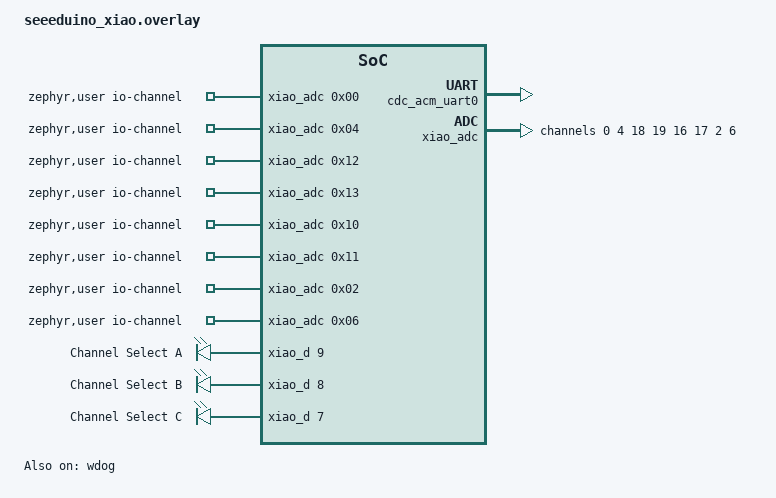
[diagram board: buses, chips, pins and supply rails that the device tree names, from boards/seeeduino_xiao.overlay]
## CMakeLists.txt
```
#-------------------------------------------------------------------------------
# Zephyr Example Application
#
# Copyright (c) 2021 Nordic Semiconductor ASA
# SPDX-License-Identifier: Apache-2.0

cmake_minimum_required(VERSION 3.13.1)
find_package(Zephyr REQUIRED HINTS $ENV{ZEPHYR_BASE})

project(app LANGUAGES C)

# Get version from Git
find_package(Git QUIET)
if(Git_FOUND)
    execute_process(
        COMMAND ${GIT_EXECUTABLE} describe --tags --always --dirty
        WORKING_DIRECTORY ${CMAKE_SOURCE_DIR}
        OUTPUT_VARIABLE APP_VERSION
        OUTPUT_STRIP_TRAILING_WHITESPACE
        ERROR_QUIET)
endif()

if(NOT APP_VERSION)
    set(APP_VERSION "unknown")
endif()

zephyr_compile_options(-Wall -Werror)

zephyr_compile_definitions("APP_VERSION_STRING=\"${APP_VERSION}\"")
target_sources(app PRIVATE src/main.c src/chessboard.c src/chessboard_cmd.c src/chessboard_calibration.c src/watchdog.c src/version_cmd.c)
```

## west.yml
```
# Copyright (c) 2021 Nordic Semiconductor ASA
# SPDX-License-Identifier: Apache-2.0

manifest:
  remotes:
    - name: zephyrproject-rtos
      url-base: https://github.com/zephyrproject-rtos


  projects:
    - name: zephyr
      remote: zephyrproject-rtos
      revision: 91b1b84eee8159ce9706e8e0a3826cea04a09170
      import:
        name-allowlist:
          - hal_atmel
          - cmsis_6
```

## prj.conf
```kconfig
# Enable debug options
CONFIG_SERIAL=y
CONFIG_CONSOLE=y
CONFIG_UART_CONSOLE=y
CONFIG_STDOUT_CONSOLE=y
CONFIG_UART_LINE_CTRL=y

# CDC ACM Uart
CONFIG_USB_DEVICE_STACK_NEXT=y
CONFIG_CDC_ACM_SERIAL_INITIALIZE_AT_BOOT=y
CONFIG_CDC_ACM_SERIAL_PRODUCT_STRING="Chessboard console"
CONFIG_CDC_ACM_SERIAL_PID=0x0004
CONFIG_SHELL_BACKEND_SERIAL_CHECK_DTR=n
CONFIG_UART_LINE_CTRL=y

CONFIG_ADC=y

CONFIG_SHELL=y
CONFIG_SHELL_BACKENDS=y
CONFIG_SHELL_BACKEND_SERIAL=y
CONFIG_SHELL_PROMPT_UART="chess:~$ "
CONFIG_SHELL_VT100_COLORS=n
CONFIG_SHELL_PRINTF_BUFF_SIZE=1024
CONFIG_SHELL_THREAD_PRIORITY_OVERRIDE=y
CONFIG_SHELL_THREAD_PRIORITY=14
CONFIG_MAIN_THREAD_PRIORITY=14

CONFIG_CONSOLE_SUBSYS=y
CONFIG_CONSOLE_GETCHAR=y

# For storing calibration data
CONFIG_FLASH=y
CONFIG_FLASH_MAP=y
CONFIG_SETTINGS_RUNTIME=y
CONFIG_SETTINGS=y
CONFIG_NVS=y
CONFIG_SETTINGS_NVS=y
CONFIG_SETTINGS_SHELL=y
CONFIG_MPU_ALLOW_FLASH_WRITE=y

# Watchdog
CONFIG_WATCHDOG=y
CONFIG_WDT_DISABLE_AT_BOOT=n
```

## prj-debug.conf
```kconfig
CONFIG_DEBUG=y
CONFIG_ASSERT=y

CONFIG_LOG=y
CONFIG_LOG_DEFAULT_LEVEL=2
CONFIG_USBD_CDC_ACM_LOG_LEVEL_OFF=y
CONFIG_LOG_CMDS=y
```

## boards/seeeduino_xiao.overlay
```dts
/*
* Copyright (c) 2022 Kumar Gala <galak@kernel.org>
*
* SPDX-License-Identifier: Apache-2.0
*/

/ {
	zephyr,user {
		io-channels =
		<&xiao_adc 0x00>,
		<&xiao_adc 0x04>,
		<&xiao_adc 0x12>,
		<&xiao_adc 0x13>,
		<&xiao_adc 0x10>,
		<&xiao_adc 0x11>,
		<&xiao_adc 0x02>,
		<&xiao_adc 0x06>;
	};
	chosen {
		zephyr,console = &cdc_acm_uart0;
		zephyr,shell-uart = &cdc_acm_uart0;
	};

	aliases {
		channel-select-a = &channel_select_a;
		channel-select-b = &channel_select_b;
		channel-select-c = &channel_select_c;
	};

	pins {
		compatible = "gpio-leds";
		channel_select_a: channel-select-a {
			gpios = <&xiao_d 9 GPIO_ACTIVE_HIGH>;
			label = "Channel Select A";
		};
		channel_select_b: channel-select-b {
			gpios = <&xiao_d 8 GPIO_ACTIVE_HIGH>;
			label = "Channel Select B";
		};
		channel_select_c: channel-select-c {
			gpios = <&xiao_d 7 GPIO_ACTIVE_HIGH>;
			label = "Channel Select C";
		};
	};
};

&xiao_dac {
	status = "disabled";
};

&zephyr_udc0 {
	cdc_acm_uart0: cdc_acm_uart0 {
		compatible = "zephyr,cdc-acm-uart";
	};
};

/*
A0 - PA2B_ADC_AIN0
A6 - PB8B_ADC_AIN2
A7 - PB9B_ADC_AIN3
A1 - PA4B_ADC_AIN4
A9 - PA5B_ADC_AIN5
A10 - PA6B_ADC_AIN6
A8 - PA7B_ADC_AIN7
A4 - PA8B_ADC_AIN16
A5 - PA9B_ADC_AIN17
A2 - PA10B_ADC_AIN18
A3 - PA11B_ADC_AIN19
*/
&pinctrl {
	xiao_adc_default: xiao-adc-default {
		group1 {
			pinmux = <PA2B_ADC_AIN0>,  /* A0 */
			<PA4B_ADC_AIN4>,  /* A1 */
			<PA10B_ADC_AIN18>, /* A2 */
			<PA11B_ADC_AIN19>,  /* A3 */
			<PA8B_ADC_AIN16>,  /* A4 */
			<PA9B_ADC_AIN17>,  /* A5 */
			<PB8B_ADC_AIN2>,  /* A6 */
			<PA6B_ADC_AIN6>;  /* A10 */
		};
	};
};

&xiao_adc {
	status = "okay";
	pinctrl-0 = <&xiao_adc_default>;
	pinctrl-names = "default";
	#address-cells = <1>;
	#size-cells = <0>;
	channel@0 {
		reg = <0>;
		zephyr,gain = "ADC_GAIN_1_2";
		zephyr,reference = "ADC_REF_VDD_1_2";
		zephyr,vref-mv = <1650>;
		zephyr,acquisition-time = <ADC_ACQ_TIME(ADC_ACQ_TIME_MICROSECONDS, 4)>;
		zephyr,input-positive = <0>;
		zephyr,resolution = <12>;
		zephyr,oversampling = <10>;
	};
	channel@4 {
		reg = <4>;
		zephyr,gain = "ADC_GAIN_1_2";
		zephyr,reference = "ADC_REF_VDD_1_2";
		zephyr,vref-mv = <1650>;
		zephyr,acquisition-time = <ADC_ACQ_TIME(ADC_ACQ_TIME_MICROSECONDS, 4)>;
		zephyr,input-positive = <4>;
		zephyr,resolution = <12>;
		zephyr,oversampling = <10>;
	};
	channel@12 {
		reg = <0x12>;
		zephyr,gain = "ADC_GAIN_1_2";
		zephyr,reference = "ADC_REF_VDD_1_2";
		zephyr,vref-mv = <1650>;
		zephyr,acquisition-time = <ADC_ACQ_TIME(ADC_ACQ_TIME_MICROSECONDS, 4)>;
		zephyr,input-positive = <0x12>;
		zephyr,resolution = <12>;
		zephyr,oversampling = <10>;
	};
	channel@13 {
		reg = <0x13>;
		zephyr,gain = "ADC_GAIN_1_2";
		zephyr,reference = "ADC_REF_VDD_1_2";
		zephyr,vref-mv = <1650>;
		zephyr,acquisition-time = <ADC_ACQ_TIME(ADC_ACQ_TIME_MICROSECONDS, 4)>;
		zephyr,input-positive = <0x13>;
		zephyr,resolution = <12>;
		zephyr,oversampling = <10>;
	};
	channel@10 {
		reg = <0x10>;
		zephyr,gain = "ADC_GAIN_1_2";
		zephyr,reference = "ADC_REF_VDD_1_2";
		zephyr,vref-mv = <1650>;
		zephyr,acquisition-time = <ADC_ACQ_TIME(ADC_ACQ_TIME_MICROSECONDS, 4)>;
		zephyr,input-positive = <0x10>;
		zephyr,resolution = <12>;
		zephyr,oversampling = <10>;
	};
	channel@11 {
		reg = <0x11>;
		zephyr,gain = "ADC_GAIN_1_2";
		zephyr,reference = "ADC_REF_VDD_1_2";
		zephyr,vref-mv = <1650>;
		zephyr,acquisition-time = <ADC_ACQ_TIME(ADC_ACQ_TIME_MICROSECONDS, 4)>;
		zephyr,input-positive = <0x11>;
		zephyr,resolution = <12>;
		zephyr,oversampling = <10>;
	};
	channel@2 {
		reg = <2>;
		zephyr,gain = "ADC_GAIN_1_2";
		zephyr,reference = "ADC_REF_VDD_1_2";
		zephyr,vref-mv = <1650>;
		zephyr,acquisition-time = <ADC_ACQ_TIME(ADC_ACQ_TIME_MICROSECONDS, 4)>;
		zephyr,input-positive = <2>;
		zephyr,resolution = <12>;
		zephyr,oversampling = <10>;
	};
	channel@6 {
		reg = <6>;
		zephyr,gain = "ADC_GAIN_1_2";
		zephyr,reference = "ADC_REF_VDD_1_2";
		zephyr,vref-mv = <1650>;
		zephyr,acquisition-time = <ADC_ACQ_TIME(ADC_ACQ_TIME_MICROSECONDS, 4)>;
		zephyr,input-positive = <6>;
		zephyr,resolution = <12>;
		zephyr,oversampling = <10>;
	};
};

&wdog {
	status = "okay";
};
```

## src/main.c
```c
#include <zephyr/kernel.h>

#include <zephyr/logging/log.h>
#include <zephyr/drivers/uart.h>
#include <zephyr/drivers/gpio.h>
#include <zephyr/device.h>
#include "watchdog.h"

LOG_MODULE_REGISTER(app, LOG_LEVEL_INF);

BUILD_ASSERT(DT_NODE_HAS_COMPAT(DT_CHOSEN(zephyr_console), zephyr_cdc_acm_uart),
	     "Console device is not ACM CDC UART device");

static const struct gpio_dt_spec led = GPIO_DT_SPEC_GET(DT_ALIAS(led0), gpios);


int main(void)
{
	const struct device *const dev = DEVICE_DT_GET(DT_CHOSEN(zephyr_console));
	uint32_t dtr = 0;

	__ASSERT(gpio_is_ready_dt(&led), "Error: GPIO Device not ready");

	gpio_pin_configure_dt(&led, GPIO_OUTPUT_ACTIVE);

	bool led_state = false;

dtr_not_set:

	/* Poll if the DTR flag was set */
	while (!dtr) {
		feed_watchdog();

		uart_line_ctrl_get(dev, UART_LINE_CTRL_DTR, &dtr);
		/* Give CPU resources to low-priority threads. */
		gpio_pin_set_dt(&led, (int)led_state);
		led_state = !led_state;
		k_msleep(100);
	}

	while (1) {
		feed_watchdog();

		gpio_pin_set_dt(&led, (int)led_state);
		led_state = !led_state;
		k_msleep(500);

		uart_line_ctrl_get(dev, UART_LINE_CTRL_DTR, &dtr);
		if (!dtr) {
			goto dtr_not_set;
		}
	}

	k_sleep(K_FOREVER);

	return 0;
}
```

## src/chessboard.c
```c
#include "chessboard.h"
#include "chessboard_calibration.h"

#include <zephyr/kernel.h>

#include <zephyr/drivers/adc.h>
#include <zephyr/device.h>
#include <zephyr/devicetree.h>
#include <zephyr/drivers/gpio.h>
#include <zephyr/logging/log.h>

LOG_MODULE_REGISTER(chessboard, LOG_LEVEL_INF);

#define HAL_NUM_MEASUREMENTS            (uint8_t)1

#define GET_INDEX(file, rank) ((rank) * 8 + (file))

#define DT_SPEC_AND_COMMA(node_id, prop, idx) ADC_DT_SPEC_GET_BY_IDX(node_id, idx),

static const struct gpio_dt_spec channel_select_a =
	GPIO_DT_SPEC_GET(DT_ALIAS(channel_select_a), gpios);
static const struct gpio_dt_spec channel_select_b =
	GPIO_DT_SPEC_GET(DT_ALIAS(channel_select_b), gpios);
static const struct gpio_dt_spec channel_select_c =
	GPIO_DT_SPEC_GET(DT_ALIAS(channel_select_c), gpios);

/* Mapping of chess board rows to multiplexer channels */
static uint8_t multiplexer_mapping[8][8] = {
	// [Multiplexer][Channel] = Board row
	{2, 1, 0, 3, 4, 7, 5, 6}, // A - Normal
	{6, 5, 4, 7, 3, 0, 2, 1}, // B - Mirrored
	{2, 1, 0, 3, 4, 7, 5, 6}, // C - Normal
	{6, 5, 4, 7, 3, 0, 2, 1}, // D - Mirrored
	{1, 2, 3, 0, 4, 7, 5, 6}, // E - Normal
	{6, 5, 4, 7, 3, 0, 2, 1}, // F - Mirrored
	{1, 2, 3, 0, 4, 7, 5, 6}, // G - Normal
	{6, 5, 4, 7, 3, 0, 2, 1}, // H - Mirrored
};

static bool hal_sensor_inverted[8] = {
	false, true, false, true, false, true, false, true,
};

/* Data of ADC io-channels specified in devicetree. */
static const struct adc_dt_spec adc_channels[] = {
	DT_FOREACH_PROP_ELEM(DT_PATH(zephyr_user), io_channels, DT_SPEC_AND_COMMA)};

static int32_t chess_pieces_mv[64] = {0};

static int select_multiplexer_channel(uint8_t channel);
static int read_adc_channel(const int index, int32_t *val_mv, uint8_t num_measurements);

int chessboard_scan_file(uint8_t file)
{
	if (file > 7) {
		return -EINVAL;
	}

	int32_t offset;
	for (int multiplexer_channel = 0; multiplexer_channel < 8; multiplexer_channel++) {

		int ret = select_multiplexer_channel(multiplexer_channel);

		if (ret != 0) {
			LOG_ERR("Failed to select multiplexer channel %d: %d", multiplexer_channel,
				ret);
			return ret;
		}

		int32_t val_mv;
		ret = read_adc_channel(file, &val_mv, HAL_NUM_MEASUREMENTS);
		if (ret < 0) {
			LOG_ERR("Failed to read ADC channel %d (err %d)", file, ret);
			return ret;
		}

		if (hal_sensor_inverted[file]) {
			val_mv = -val_mv;
		}

		int rank = multiplexer_mapping[file][multiplexer_channel];

		const int index = GET_INDEX(file, rank);

		chess_pieces_mv[index] = val_mv;
		offset = chessboard_calibration_get_mv(file, rank) - val_mv;


		if (ret != 0) {
			LOG_ERR("Error reading square %02d: %d", index, ret);
		}
	}
	return 0;
}

int chessboard_scan(void)
{
	int32_t offset;
	for (int multiplexer_channel = 0; multiplexer_channel < 8; multiplexer_channel++) {

		int ret = select_multiplexer_channel(multiplexer_channel);

		if (ret != 0) {
			LOG_ERR("Failed to select multiplexer channel %d: %d", multiplexer_channel,
				ret);
			return ret;
		}

		for (int file = 0; file < 8; file++) {

			int32_t val_mv;
			ret = read_adc_channel(file, &val_mv, HAL_NUM_MEASUREMENTS);
			if (ret < 0) {
				LOG_ERR("Failed to read ADC channel %d (err %d)", file, ret);
				return ret;
			}

			if (hal_sensor_inverted[file]) {
				val_mv = -val_mv;
			}

			int rank = multiplexer_mapping[file][multiplexer_channel];

			const int index = GET_INDEX(file, rank);

			chess_pieces_mv[index] = val_mv;
			offset = chessboard_calibration_get_mv(file, rank) - val_mv;

			if (ret != 0) {
				LOG_ERR("Error reading square %02d: %d", index, ret);
			}
		}
	}
	return 0;
}

int32_t chessboard_get_mv(uint8_t file, uint8_t rank)
{
	if (file > 7 || rank > 7) {
		return -1;
	}

	return chess_pieces_mv[GET_INDEX(file, rank)];
}

int32_t chessboard_get_mv_offset(uint8_t file, uint8_t rank)
{
	if (file > 7 || rank > 7) {
		return -1;
	}
	int index = GET_INDEX(file, rank);
	return chessboard_calibration_get_mv(file, rank) - chess_pieces_mv[index];
}

static int select_multiplexer_channel(uint8_t channel)
{
	int ret;
	const struct gpio_dt_spec *channels[] = {&channel_select_a, &channel_select_b,
						 &channel_select_c};

	static bool is_initialized = false;
	if (!is_initialized) {
		for (int i = 0; i < 3; i++) {
			if (!gpio_is_ready_dt(channels[i])) {
				return -ENODEV;
			}
			ret = gpio_pin_configure_dt(channels[i], GPIO_OUTPUT_INACTIVE);
			if (ret < 0) {
				return -ENODEV;
			}
		}
		is_initialized = true;
		LOG_INF("Multiplexer channel select pins initialized\n");
	}

	for (int i = 0; i < 3; i++) {
		int value = (channel >> i) & 0x01;
		ret = gpio_pin_set_dt(channels[i], value);
		if (ret < 0) {
			return ret;
		}
	}

	return 0;
}

static int read_adc_channel(const int index, int32_t *val_mv, uint8_t num_measurements)
{
	if (index >= ARRAY_SIZE(adc_channels)) {
		LOG_ERR("ADC channel index %d out of range", index);
		return 0;
	}

	struct adc_sequence sequence = {
		.buffer = val_mv,
		.buffer_size = sizeof(*val_mv),
	};

	if (!adc_is_ready_dt(&adc_channels[index])) {
		LOG_WRN("ADC controller device %s not ready\n", adc_channels[index].dev->name);
		return 0;
	}

	int ret = adc_channel_setup_dt(&adc_channels[index]);
	if (ret < 0) {
		LOG_ERR("Could not setup channel #%d (%d)\n", index, ret);
		return 0;
	}

	ret = adc_sequence_init_dt(&adc_channels[index], &sequence);
	if (ret != 0) {
		LOG_ERR("Could not init sequence for channel #%d (%d)\n", index, ret);
		return ret;
	}

	*val_mv = 0;

	ret = adc_read_dt(&adc_channels[index], &sequence);
	if (ret != 0) {
		LOG_ERR("Failed to read ADC channel %d (err %d)", index, ret);
		return ret;
	}

	return adc_raw_to_millivolts_dt(&adc_channels[index], val_mv);
}

static int chessboard_setup()
{
	int err = select_multiplexer_channel(0);
	if (err != 0) {
		LOG_ERR("Failed to setup chessboard multiplexer: %d", err);
	}
	return err;
}

SYS_INIT(chessboard_setup, APPLICATION, CONFIG_APPLICATION_INIT_PRIORITY);
```

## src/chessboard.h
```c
#pragma once

#include <stdint.h>

#define CHESS_FILE_A    ((uint8_t)0u)
#define CHESS_FILE_B    ((uint8_t)1u)
#define CHESS_FILE_C    ((uint8_t)2u)
#define CHESS_FILE_D    ((uint8_t)3u)
#define CHESS_FILE_E    ((uint8_t)4u)
#define CHESS_FILE_F    ((uint8_t)5u)
#define CHESS_FILE_G    ((uint8_t)6u)
#define CHESS_FILE_H    ((uint8_t)7u)
#define CHESS_NUM_FILES ((uint8_t)8u)

#define CHESS_RANK_1    ((uint8_t)0u)
#define CHESS_RANK_2    ((uint8_t)1u)
#define CHESS_RANK_3    ((uint8_t)2u)
#define CHESS_RANK_4    ((uint8_t)3u)
#define CHESS_RANK_5    ((uint8_t)4u)
#define CHESS_RANK_6    ((uint8_t)5u)
#define CHESS_RANK_7    ((uint8_t)6u)
#define CHESS_RANK_8    ((uint8_t)7u)
#define CHESS_NUM_RANKS ((uint8_t)8u)

int chessboard_scan_file(uint8_t file);
int chessboard_scan(void);
int chessboard_calibrate(void);
int32_t chessboard_get_mv(uint8_t file, uint8_t rank);
int32_t chessboard_get_mv_offset(uint8_t file, uint8_t rank);
```

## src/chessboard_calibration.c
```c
#include <zephyr/kernel.h>
#include <zephyr/settings/settings.h>
#include "chessboard.h"

#include <zephyr/logging/log.h>
LOG_MODULE_REGISTER(chessboard_calibration, LOG_LEVEL_INF);

static int16_t calibration_offset_mv[8][8] = {
	{1650, 1650, 1650, 1650, 1650, 1650, 1650, 1650},
	{1650, 1650, 1650, 1650, 1650, 1650, 1650, 1650},
	{1650, 1650, 1650, 1650, 1650, 1650, 1650, 1650},
	{1650, 1650, 1650, 1650, 1650, 1650, 1650, 1650},
	{1650, 1650, 1650, 1650, 1650, 1650, 1650, 1650},
	{1650, 1650, 1650, 1650, 1650, 1650, 1650, 1650},
	{1650, 1650, 1650, 1650, 1650, 1650, 1650, 1650},
	{1650, 1650, 1650, 1650, 1650, 1650, 1650, 1650},
};

static int chessboard_calibration_set(const char *name, size_t len, settings_read_cb read_cb,
				      void *cb_arg);

struct settings_handler chessboard_calibration_setting = {.name = "calibration",
							  .h_set = chessboard_calibration_set};

int32_t chessboard_calibration_get_mv(uint8_t file, uint8_t rank)
{
	if (file > 7 || rank > 7) {
		return -1;
	}
	return (int32_t)calibration_offset_mv[rank][file];
}

int chessboard_calibration_calibrate(void)
{
	int ret = chessboard_scan();

	if (ret != 0) {
		return ret;
	}
	int32_t mv;
	for (int rank = 0; rank < 8; rank++) {
		for (int file = 0; file < 8; file++) {
			mv = chessboard_get_mv(file, rank);
			if (mv < INT16_MIN) {
				LOG_ERR("mv reading %d below int16 min at file %d, rank %d", mv,
					file, rank);
				return -EOVERFLOW;
			}

			if (mv > INT16_MAX) {
				LOG_ERR("mv reading %d exceeds int16 max at file %d, rank %d", mv,
					file, rank);
				return -EOVERFLOW;
			}

			calibration_offset_mv[rank][file] = (int16_t)mv;
		}
	}

	ret = settings_save_one("calibration/calibration", &calibration_offset_mv,
				sizeof(calibration_offset_mv));

	if (ret != 0) {
		LOG_ERR("Failed to save calibration data: %d", ret);
	} else {
		LOG_INF("Calibration data saved successfully");
	}

	return ret;
}

static int chessboard_calibration_set(const char *name, size_t len, settings_read_cb read_cb,
				      void *cb_arg)
{
	int rc;

	rc = read_cb(cb_arg, &calibration_offset_mv, sizeof(calibration_offset_mv));
	if (rc >= 0) {
		rc = 0;
	}

	return rc;
}

static int chessboard_calibration_init(void)
{
	int ret;
	ret = settings_subsys_init();
	if (ret != 0) {
		LOG_ERR("Failed to initialize settings subsystem: %d", ret);
		return ret;
	}

	ret = settings_register(&chessboard_calibration_setting);
	if (ret != 0) {
		LOG_ERR("Failed to register settings handler: %d", ret);
		return ret;
	}
	ret = settings_load();
	if (ret != 0) {
		LOG_WRN("No calibration data found, using defaults");
	} else {
		LOG_INF("Calibration data loaded successfully");
	}

	return 0;
}

SYS_INIT(chessboard_calibration_init, APPLICATION, CONFIG_APPLICATION_INIT_PRIORITY);
```

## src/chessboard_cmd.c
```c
#include "chessboard.h"
#include "chessboard_calibration.h"
#include <zephyr/kernel.h>
#include <zephyr/console/console.h>
#include <zephyr/shell/shell.h>
#include <stdlib.h>
#include <string.h>

char *shell_getline(const struct shell *shell, char *buf, const size_t len)
{
	if (!buf) {
		return NULL;
	}

	char *p = buf;
	memset(buf, 0, len);

	for (size_t i = 0; i < (len - 1); i++) {
		char c;
		size_t cnt;

		shell->iface->api->read(shell->iface, &c, sizeof(c), &cnt);
		while (cnt == 0) {
			k_busy_wait(100);
			shell->iface->api->read(shell->iface, &c, sizeof(c), &cnt);
		}
		shell->iface->api->write(shell->iface, &c, sizeof(c), &cnt);
		if (c == '\n' || c == '\r') {
			break; // end of line
		}
		*p++ = c;
	}

	return buf;
}

static int print_mv(const struct shell *sh, int32_t (*get_value_func)(uint8_t, uint8_t))
{
	int32_t val_mv;
	chessboard_scan();

	for (int rank = 7; rank >= 0; rank--) {
		shell_fprintf(sh, SHELL_NORMAL, "%d", rank + 1);
		for (int file = 0; file < CHESS_NUM_FILES; file++) {
			shell_fprintf(sh, SHELL_NORMAL, "|");
			val_mv = get_value_func(file, rank);
			shell_fprintf(sh, SHELL_NORMAL, "%4d", val_mv);
		}
		shell_fprintf(sh, SHELL_NORMAL, "\n");
	}
	shell_fprintf(sh, SHELL_NORMAL, "\n");
	return 0;
}

static int print_mv_file(const struct shell *sh, int32_t (*get_value_func)(uint8_t, uint8_t),
			 uint8_t file)
{
	int32_t val_mv;
	chessboard_scan_file(file);

	shell_fprintf(sh, SHELL_NORMAL, "%c", 'A' + file);
	for (int rank = 0; rank < CHESS_NUM_RANKS; rank++) {
		shell_fprintf(sh, SHELL_NORMAL, "|");
		val_mv = get_value_func(file, rank);
		shell_fprintf(sh, SHELL_NORMAL, "%4d", val_mv);
	}
	shell_fprintf(sh, SHELL_NORMAL, "\n");
	return 0;
}

static bool monitor_command_shall_quit(const struct shell *sh)
{
	char c;
	int ret;
	size_t cnt;

	ret = sh->iface->api->read(sh->iface, &c, sizeof(c), &cnt);
	if (ret != 0) {
		shell_error(sh, "Failed to read from shell (%d)", ret);
		return true;
	}

	if (cnt == 1 && (c == 'q' || c == 'Q')) {
		return true;
	}

	return false;
}

static int monitor_file(const struct shell *sh, int32_t (*get_value_func)(uint8_t, uint8_t))
{
	while (1) {
		for (uint8_t file = 0; file < CHESS_NUM_FILES; file++) {
			print_mv_file(sh, get_value_func, file);
		}

		if (monitor_command_shall_quit(sh)) {
			break;
		}

		k_yield();
	}
	return 0;
}

static int monitor_offset_threshold(const struct shell *sh, int32_t negative_threshold_mv,
				    int32_t positive_threshold_mv, uint16_t hysteresis_mv)
{
#define STATE_NEGATIVE 0
#define STATE_POSITIVE 1
#define STATE_NEUTRAL  2
#define STATE_UNKNOWN  3

	uint8_t prev_state[CHESS_NUM_FILES][CHESS_NUM_RANKS];
	for (int file = 0; file < CHESS_NUM_FILES; file++) {
		for (int rank = 0; rank < CHESS_NUM_RANKS; rank++) {
			prev_state[file][rank] = STATE_UNKNOWN;
		}
	}

	uint8_t file = 0;

	while (1) {
		chessboard_scan_file(file);

		for (uint8_t rank = 0; rank < CHESS_NUM_RANKS; rank++) {
			const int32_t mv = chessboard_get_mv_offset(file, rank);

			int32_t negative = negative_threshold_mv;
			int32_t positive = positive_threshold_mv;

			if (prev_state[file][rank] == STATE_POSITIVE) {
				negative -= hysteresis_mv;
				positive -= hysteresis_mv;
			} else if (prev_state[file][rank] == STATE_NEGATIVE) {
				negative += hysteresis_mv;
				positive += hysteresis_mv;
			} else if (prev_state[file][rank] == STATE_NEUTRAL) {
				negative -= hysteresis_mv;
				positive += hysteresis_mv;
			}

			const bool above = mv > positive;
			const bool below = mv < negative;
			const bool within = !above && !below;
			if ((prev_state[file][rank] != STATE_POSITIVE) && above) {
				shell_print(sh, "+%c%d", 'A' + file, rank + 1);
				prev_state[file][rank] = STATE_POSITIVE;
			} else if ((prev_state[file][rank] != STATE_NEGATIVE) && below) {
				shell_print(sh, "-%c%d", 'A' + file, rank + 1);
				prev_state[file][rank] = STATE_NEGATIVE;
			} else if ((prev_state[file][rank] != STATE_NEUTRAL) && within) {
				shell_print(sh, " %c%d", 'A' + file, rank + 1);
				prev_state[file][rank] = STATE_NEUTRAL;
			} else {
				// no state change
			}
		}

		if (monitor_command_shall_quit(sh)) {
			break;
		}

		file = (file + 1) % CHESS_NUM_FILES;
		k_yield();
	}

	return 0;
}

static int cmd_board_monitor_file_voltage(const struct shell *sh, size_t argc, char **argv)
{
	monitor_file(sh, chessboard_get_mv);
	return 0;
}

static int cmd_board_monitor_file_offset_voltage(const struct shell *sh, size_t argc, char **argv)
{
	monitor_file(sh, chessboard_get_mv_offset);
	return 0;
}

static int cmd_board_monitor_offset_threshold(const struct shell *sh, size_t argc, char **argv)
{
	if ((argc < 3) || (argc > 4)) {
		shell_print(sh, "Invalid number of arguments (%d)", argc);
		shell_print(
			sh,
			"Usage: board monitor threshold <negative_threshold_mV> "
			"<positive_threshold_mV> [hysteresis_mV]\n"
			"- <negative_threshold_mV>: threshold for negative offset notification\n"
			"- <positive_threshold_mV>: threshold for positive offset notification\n"
			"- [hysteresis_mV]: optional hysteresis value to avoid notification "
			"flooding\n");

		return -EINVAL;
	}

	int err = 0;
	long negative_threshold_mv = shell_strtol(argv[1], 10, &err);

	if (err != 0) {
		shell_error(sh, "Invalid negative threshold: %s", argv[1]);
		return err;
	}

	long positive_threshold_mv = shell_strtol(argv[2], 10, &err);
	if (err != 0) {
		shell_error(sh, "Invalid positive threshold: %s", argv[2]);
		return err;
	} else if (positive_threshold_mv <= negative_threshold_mv) {
		shell_error(sh, "Positive threshold must be greater than negative threshold");
		return -ERANGE;
	}

	unsigned long hysteresis_mv = 0;
	if (argc >= 4) {
		hysteresis_mv = shell_strtoul(argv[3], 10, &err);
		if (err != 0) {
			shell_error(sh, "Invalid hysteresis: %s", argv[3]);
			return err;
		} else if (hysteresis_mv > UINT16_MAX) {
			shell_error(sh, "Hysteresis too large: %s", argv[3]);
			return -ERANGE;
		}
	}

	return monitor_offset_threshold(sh, (int32_t)negative_threshold_mv,
					(int32_t)positive_threshold_mv, (uint16_t)hysteresis_mv);
}

static int cmd_print_board_voltage(const struct shell *sh, size_t argc, char **argv)
{
	print_mv(sh, chessboard_get_mv);
	return 0;
}

static int cmd_print_board_offset_voltage(const struct shell *sh, size_t argc, char **argv)
{
	print_mv(sh, chessboard_get_mv_offset);
	return 0;
}

static int cmd_print_board_calibration(const struct shell *sh, size_t argc, char **argv)
{
	print_mv(sh, chessboard_calibration_get_mv);
	return 0;
}

static int cmd_set_board_calibration(const struct shell *sh, size_t argc, char **argv)
{
	int ret = chessboard_calibration_calibrate();
	if (ret != 0) {
		shell_print(sh, "Calibration failed: %d", ret);
		return ret;
	}

	shell_print(sh, "Calibration complete");
	return 0;
}

SHELL_STATIC_SUBCMD_SET_CREATE(calib_cmds,
			       SHELL_CMD(get, NULL, "Print the chess board calibration",
					 cmd_print_board_calibration),
			       SHELL_CMD(set, NULL, "Set the chess board calibration",
					 cmd_set_board_calibration),
			       SHELL_SUBCMD_SET_END);

SHELL_STATIC_SUBCMD_SET_CREATE(
	monitor,
	SHELL_CMD(voltage, NULL, "Monitor chess board voltages", cmd_board_monitor_file_voltage),
	SHELL_CMD(offset, NULL, "Monitor chess board offset voltages",
		  cmd_board_monitor_file_offset_voltage),
	SHELL_CMD(threshold, NULL,
		  "Notify with hysteresis: threshold <negative_mV> <positive_mV> [hysteresis_mV]",
		  cmd_board_monitor_offset_threshold),
	SHELL_SUBCMD_SET_END);

SHELL_STATIC_SUBCMD_SET_CREATE(
	chess_cmds,
	SHELL_CMD(voltage, NULL, "Print the chess board voltages in millivolts",
		  cmd_print_board_voltage),
	SHELL_CMD(offset, NULL,
		  "Print the chess board voltage offset from calibration value in millivolts",
		  cmd_print_board_offset_voltage),
	SHELL_CMD(calib, &calib_cmds, "Chess board calibration commands", NULL),
	SHELL_CMD(monitor, &monitor, "Monitor chess board values", NULL), SHELL_SUBCMD_SET_END);

SHELL_CMD_REGISTER(board, &chess_cmds, "Chess board commands", NULL);
```

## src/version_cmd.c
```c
#include <zephyr/shell/shell.h>

#ifndef APP_VERSION_STRING
#error "APP_VERSION_STRING is not defined"
#endif

static int cmd_version(const struct shell *shell, size_t argc, char **argv)
{
    ARG_UNUSED(argc);
    ARG_UNUSED(argv);
    shell_print(shell, "%s", APP_VERSION_STRING);
    return 0;
}

SHELL_CMD_REGISTER(version, NULL, "Show application version", cmd_version);
```
